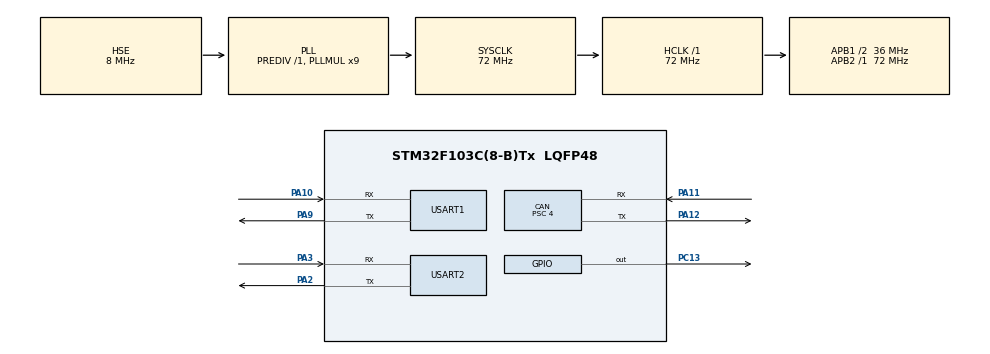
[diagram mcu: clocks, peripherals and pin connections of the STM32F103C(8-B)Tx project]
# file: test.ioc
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CAN.BS1=CAN_BS1_3TQ
CAN.BS2=CAN_BS2_5TQ
CAN.CalculateBaudRate=1000000
CAN.CalculateTimeBit=1000
CAN.CalculateTimeQuantum=111.11111111111111
CAN.Mode=CAN_MODE_LOOPBACK
CAN.Prescaler=4
Dma.Request0=USART2_RX
Dma.USART2_RX.0.Direction=DMA_PERIPH_TO_MEMORY
Dma.USART2_RX.0.Instance=DMA1_Channel6
Dma.USART2_RX.0.MemDataAlignment=DMA_MDATAALIGN_BYTE
Dma.USART2_RX.0.MemInc=DMA_MINC_ENABLE
Dma.USART2_RX.0.Mode=DMA_CIRCULAR
Dma.USART2_RX.0.PeriphDataAlignment=DMA_PDATAALIGN_BYTE
Dma.USART2_RX.0.PeriphInc=DMA_PINC_DISABLE
Dma.USART2_RX.0.Priority=DMA_PRIORITY_LOW
Mcu.Family=STM32F1
Mcu.Name=STM32F103C(8-B)Tx
Mcu.Package=LQFP48
NVIC.DMA1_Channel6_IRQn=true\:0\:0\:false\:false\:true\:false\:true\:true
NVIC.PriorityGroup=NVIC_PRIORITYGROUP_4
NVIC.TIM1_UP_IRQn=true\:0\:0\:false\:false\:true\:true\:true\:true
NVIC.USART1_IRQn=true\:0\:0\:false\:false\:true\:true\:true\:true
NVIC.USART2_IRQn=true\:0\:0\:false\:false\:true\:true\:true\:true
NVIC.USB_LP_CAN1_RX0_IRQn=true\:0\:0\:false\:false\:true\:true\:true\:true
PA10.Mode=Asynchronous
PA10.Signal=USART1_RX
PA11.Mode=CAN_Activate
PA11.Signal=CAN_RX
PA12.Mode=CAN_Activate
PA12.Signal=CAN_TX
PA13.Mode=Serial_Wire
PA13.Signal=SYS_JTMS-SWDIO
PA14.Mode=Serial_Wire
PA14.Signal=SYS_JTCK-SWCLK
PA2.Mode=Asynchronous
PA2.Signal=USART2_TX
PA3.Mode=Asynchronous
PA3.Signal=USART2_RX
PA9.Mode=Asynchronous
PA9.Signal=USART1_TX
PC13-TAMPER-RTC.PinState=GPIO_PIN_RESET
PC13-TAMPER-RTC.Signal=GPIO_Output
PD0-OSC_IN.Mode=HSE-External-Oscillator
PD0-OSC_IN.Signal=RCC_OSC_IN
PD1-OSC_OUT.Mode=HSE-External-Oscillator
PD1-OSC_OUT.Signal=RCC_OSC_OUT
ProjectManager.HeapSize=0x200
ProjectManager.StackSize=0x400
ProjectManager.TargetToolchain=CMake
RCC.AHBFreq_Value=72000000
RCC.APB1CLKDivider=RCC_HCLK_DIV2
RCC.APB1Freq_Value=36000000
RCC.APB1TimFreq_Value=72000000
RCC.APB2Freq_Value=72000000
RCC.APB2TimFreq_Value=72000000
RCC.HCLKFreq_Value=72000000
RCC.PLLMUL=RCC_PLL_MUL9
RCC.PLLSourceVirtual=RCC_PLLSOURCE_HSE
RCC.SYSCLKFreq_VALUE=72000000
RCC.SYSCLKSource=RCC_SYSCLKSOURCE_PLLCLK
RCC.USBFreq_Value=72000000
TIM1.Period=1000-1
TIM1.Prescaler=72-1
USART1.VirtualMode=VM_ASYNC
USART2.VirtualMode=VM_ASYNC
VP_TIM1_VS_ClockSourceINT.Mode=Internal
board=custom

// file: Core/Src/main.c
/* USER CODE BEGIN Header */
/**
  ******************************************************************************
  * @file           : main.c
  * @brief          : Main program body
  ******************************************************************************
  * @attention
  *
  * Copyright (c) 2025 STMicroelectronics.
  * All rights reserved.
  *
  * This software is licensed under terms that can be found in the LICENSE file
  * in the root directory of this software component.
  * If no LICENSE file comes with this software, it is provided AS-IS.
  *
  ******************************************************************************
  */
/* USER CODE END Header */
#include "main.h"
#include "can.h"
#include "dma.h"
#include "tim.h"
#include "usart.h"
#include "gpio.h"

/* USER CODE BEGIN Includes */
#include <stdbool.h>
#include "can_task.hpp"
#include "uart_task.hpp"
/* USER CODE END Includes */

/* USER CODE BEGIN PV */
UartCommData received_data;
float received_value;
uint32_t received_tick;
float    can_val1;
uint8_t  can_val2;
bool     can_flag1;
uint32_t can_tick;
/* USER CODE END PV */

void SystemClock_Config(void);

int main(void)
{

  /* MCU Configuration--------------------------------------------------------*/

  /* Reset of all peripherals, Initializes the Flash interface and the Systick. */
  HAL_Init();

  /* Configure the system clock */
  SystemClock_Config();

  /* Initialize all configured peripherals */
  MX_GPIO_Init();
  MX_DMA_Init();
  MX_TIM1_Init();
  MX_CAN_Init();
  MX_USART1_UART_Init();
  MX_USART2_UART_Init();
  /* USER CODE BEGIN 2 */
  uart_task_init();
  HAL_TIM_Base_Start_IT(&htim1);
  can_task_init();
  /* USER CODE END 2 */

  /* Infinite loop */
  /* USER CODE BEGIN WHILE */
  while (1)
  {
    uart_task_run(tick);
    can_task_run(tick);
    /* USER CODE END WHILE */

    /* USER CODE BEGIN 3 */
    received_data = uart_task_get_received_data();
    received_value = received_data.value;
    received_tick = received_data.tick;

    CANCommData received_can_data;
    received_can_data = can_task_get_received_data();
    can_val1 = received_can_data.value1;
    can_val2 = received_can_data.value2;
    can_flag1 = received_can_data.flag1;
    can_tick = received_can_data.tick;
  }
  /* USER CODE END 3 */
}

void SystemClock_Config(void)
{
  RCC_OscInitTypeDef RCC_OscInitStruct = {0};
  RCC_ClkInitTypeDef RCC_ClkInitStruct = {0};

  /** Initializes the RCC Oscillators according to the specified parameters
  * in the RCC_OscInitTypeDef structure.
  */
  RCC_OscInitStruct.OscillatorType = RCC_OSCILLATORTYPE_HSE;
  RCC_OscInitStruct.HSEState = RCC_HSE_ON;
  RCC_OscInitStruct.HSEPredivValue = RCC_HSE_PREDIV_DIV1;
  RCC_OscInitStruct.HSIState = RCC_HSI_ON;
  RCC_OscInitStruct.PLL.PLLState = RCC_PLL_ON;
  RCC_OscInitStruct.PLL.PLLSource = RCC_PLLSOURCE_HSE;
  RCC_OscInitStruct.PLL.PLLMUL = RCC_PLL_MUL9;
  if (HAL_RCC_OscConfig(&RCC_OscInitStruct) != HAL_OK)
  {
    Error_Handler();
  }

  /** Initializes the CPU, AHB and APB buses clocks
  */
  RCC_ClkInitStruct.ClockType = RCC_CLOCKTYPE_HCLK|RCC_CLOCKTYPE_SYSCLK
                              |RCC_CLOCKTYPE_PCLK1|RCC_CLOCKTYPE_PCLK2;
  RCC_ClkInitStruct.SYSCLKSource = RCC_SYSCLKSOURCE_PLLCLK;
  RCC_ClkInitStruct.AHBCLKDivider = RCC_SYSCLK_DIV1;
  RCC_ClkInitStruct.APB1CLKDivider = RCC_HCLK_DIV2;
  RCC_ClkInitStruct.APB2CLKDivider = RCC_HCLK_DIV1;

  if (HAL_RCC_ClockConfig(&RCC_ClkInitStruct, FLASH_LATENCY_2) != HAL_OK)
  {
    Error_Handler();
  }
}

/* USER CODE BEGIN 4 */
void HAL_UARTEx_RxEventCallback(UART_HandleTypeDef *huart, uint16_t Size)
{
  if (huart->Instance == USART2)
  {
    UartTask_RxEventCallback(huart, Size);
  }
}
/* USER CODE END 4 */

void Error_Handler(void)
{
  __disable_irq();
  while (1)
  {
  }
}
